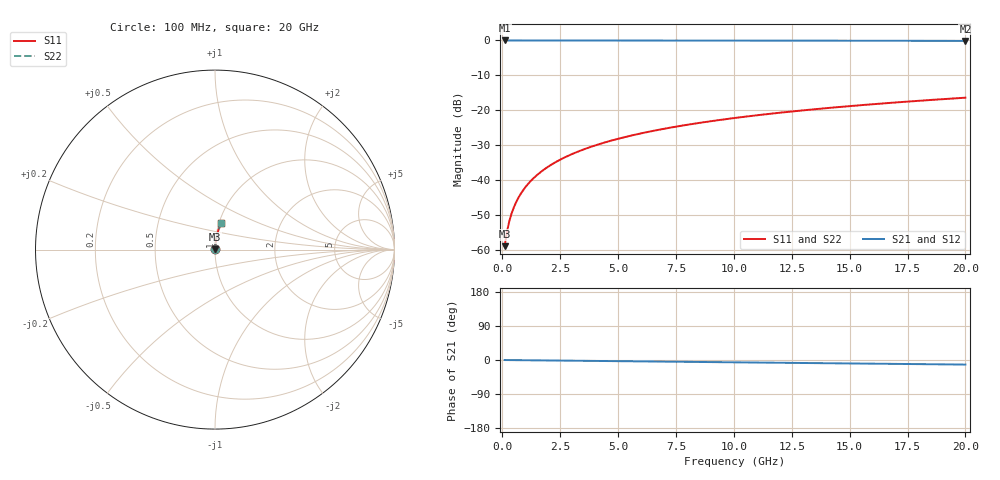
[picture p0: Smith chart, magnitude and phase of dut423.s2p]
! Touchstone file exported from HFSS 2026.1.0
!  File:  C:/ffzhzh/LocalFiles/Ansys_Project_Files/temp_train_BSMRDL_423_1783012773_51716.aedt
!  Generated:  01:20:53 AM Jul  3, 2026
!  Design:  BSMRDL
!  Project:  temp_train_BSMRDL_423_1783012773_51716
! Variables:
!  h_bsmrdl = 3.62um
!  h_ox = 20um
!  h_rdl = 5um
!  h_sub = 80um
!  h_tmrdl = 5um
!  h_tsv = 80um
!  h_via = 3um
!  l_bsmrdl = 106.87um
!  l_sub = 506.87um
!  l_tmrdl = 200um
!  m_sub = 200um
!  pitch = 56.25um
!  r_tsv = 6um
!  s_tmrdl = 10um
!  w_bsmrdl = 17.36um
!  w_sub = 500um
!  w_tmrdl = 12um
!  x_tsv_center1 = 206um
!  x_tsv_center2 = 330.23um
!  x_tsv_center3 = 542.23um
!  x_tsv_center4 = 666.46um
!  x_tsv_center5 = 878.46um
!  x_tsv_center6 = 1002.69um
# GHz S MA R 50.000000
! Terminal data exported
! Port[1] = BSM_RDL1_1_T1
! Port[2] = BSM_RDL1_1_T2
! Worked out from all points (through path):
!   200 points, 100 MHz to 20 GHz, reference 50 ohm
!   highest |S21| = -0.01 dB at 100 MHz (marker M1); lowest = -0.1 dB at 20 GHz (marker M2)
!   group delay of S21, straight-line fit = 1.67 ps
!   lowest |S11| = -58.8 dB at 100 MHz (marker M3), VSWR 1.00, Z = 50.1 + j0.0827 ohm
!   |S11| at or under -10 dB: start of sweep to end of sweep
!   |S22| runs from -58.8 to -16.4 dB; largest |S21 - S12| = 2.2e-15
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0.1  0.00115 45.9  0.9992 -0.1  0.9992 -0.1  0.00115 45.9
! Gamma 0 0 0 0
! Port Impedance 50 0 50 0
0.2  0.001837 63.4  0.9992 -0.1  0.9992 -0.1  0.001837 63.4
0.3  0.002591 70.8  0.9992 -0.2  0.9992 -0.2  0.002591 70.8
0.4  0.00336 74.8  0.9991 -0.3  0.9991 -0.3  0.00336 74.8
0.5  0.004133 77.3  0.9991 -0.3  0.9991 -0.3  0.004133 77.3
0.7  0.005684 80.3  0.9991 -0.4  0.9991 -0.4  0.005684 80.3
0.8  0.006463 81.2  0.999 -0.5  0.999 -0.5  0.006463 81.2
1  0.008023 82.6  0.999 -0.6  0.999 -0.6  0.008023 82.6
1.2  0.009587 83.5  0.999 -0.7  0.999 -0.7  0.009587 83.5
1.4  0.01115 84.1  0.999 -0.9  0.999 -0.9  0.01115 84.1
1.7  0.01351 84.7  0.9989 -1.1  0.9989 -1.1  0.01351 84.7
2  0.01586 85.0  0.9988 -1.2  0.9988 -1.2  0.01586 85.0
2.7  0.02136 85.4  0.9987 -1.7  0.9987 -1.7  0.02136 85.4
3.5  0.02763 85.4  0.9984 -2.2  0.9984 -2.2  0.02763 85.4
4.2  0.0331 85.2  0.9982 -2.6  0.9982 -2.6  0.0331 85.2
5  0.03933 84.9  0.9978 -3.1  0.9978 -3.1  0.03933 84.9
6.8  0.05325 84.0  0.9969 -4.2  0.9969 -4.2  0.05325 84.0
8.3  0.06476 83.3  0.996 -5.1  0.996 -5.1  0.06476 83.3
10.1  0.07847 82.3  0.9948 -6.2  0.9948 -6.2  0.07847 82.3
13.4  0.1033 80.5  0.9921 -8.2  0.9921 -8.2  0.1033 80.5
16.7  0.1279 78.6  0.989 -10.1  0.989 -10.1  0.1279 78.6
20  0.152 76.8  0.9853 -12.1  0.9853 -12.1  0.152 76.8
